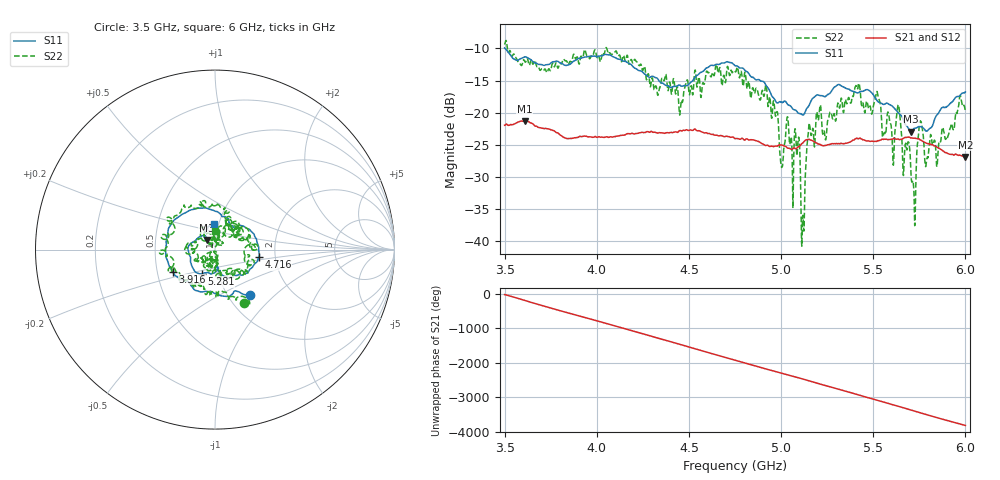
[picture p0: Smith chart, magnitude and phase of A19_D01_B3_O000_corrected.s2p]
! Created with skrf 1.9.0 (http://scikit-rf.org).
# Hz S RI R 50.0
!freq ReS11 ImS11 ReS21 ImS21 ReS12 ImS12 ReS22 ImS22
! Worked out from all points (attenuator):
!   1601 points, 3.5 GHz to 6 GHz, reference 50 ohm
!   highest |S21| = -21.26 dB at 3.609 GHz (marker M1); lowest = -26.9 dB at 6 GHz (marker M2)
!   lowest |S11| = -22.9 dB at 5.705 GHz (marker M3), VSWR 1.15, Z = 45.3 + j4.95 ohm
!   |S11| at or under -10 dB: 3.503 GHz to end of sweep
!   |S22| runs from -40.7 to -8.8 dB; largest |S21 - S12| = 0.0012
!   S11 on the Smith chart (normalised r, x): 3.5 GHz: 1.26, -0.71; 3.916 GHz: 0.60, -0.16; 4.716 GHz: 1.64, -0.15; 5.281 GHz: 0.83, -0.23; 6 GHz: 0.95, +0.28
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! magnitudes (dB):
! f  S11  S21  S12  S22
! 3.5 GHz  -9.9  -21.9  -21.9  -9.4
! 3.609 GHz  -11.3  -21.3  -21.3  -12.0
! 3.916 GHz  -11.5  -23.7  -23.7  -11.2
! 3.917 GHz  -11.5  -23.7  -23.7  -11.2
! 4.334 GHz  -14.9  -23.1  -23.1  -17.0
! 4.716 GHz  -12.1  -23.7  -23.8  -13.6
! 4.75 GHz  -12.7  -24.0  -24.0  -13.6
! 4.969 GHz  -18.1  -25.2  -25.2  -20.5
! 5.003 GHz  -18.4  -25.0  -25.1  -28.5
! 5.086 GHz  -19.8  -25.5  -25.5  -26.7
! 5.119 GHz  -20.3  -24.7  -24.6  -36.0
! 5.145 GHz  -19.1  -24.1  -24.1  -23.7
! 5.167 GHz  -17.9  -24.3  -24.3  -23.1
! 5.281 GHz  -16.3  -24.8  -24.8  -21.0
! 5.414 GHz  -16.9  -24.0  -24.1  -16.1
! 5.584 GHz  -18.7  -24.2  -24.2  -20.2
! 5.638 GHz  -20.0  -24.1  -24.1  -18.8
! 5.705 GHz  -22.9  -23.9  -23.9  -29.2
! 5.722 GHz  -22.4  -24.0  -23.9  -33.4
! 5.756 GHz  -22.1  -24.2  -24.2  -21.3
! 5.789 GHz  -22.9  -24.7  -24.7  -27.5
! 6 GHz  -16.8  -26.9  -26.8  -19.7
